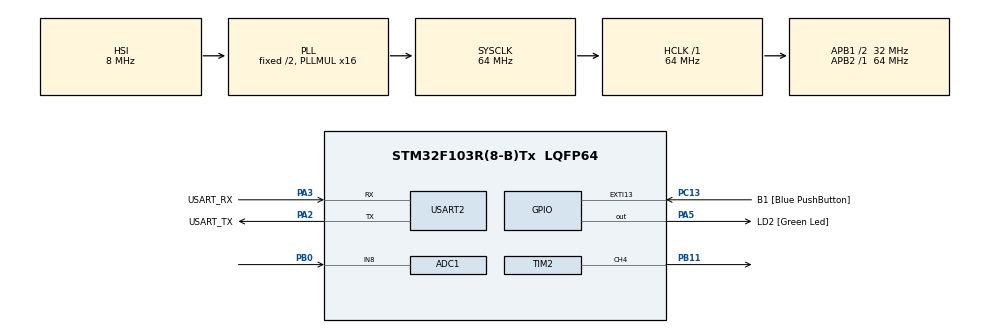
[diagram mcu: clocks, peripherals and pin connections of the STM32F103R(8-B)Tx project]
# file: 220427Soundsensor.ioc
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ADC1.Channel-3\#ChannelRegularConversion=ADC_CHANNEL_8
ADC1.ContinuousConvMode=ENABLE
ADC1.NbrOfConversionFlag=1
ADC1.Rank-3\#ChannelRegularConversion=1
ADC1.SamplingTime-3\#ChannelRegularConversion=ADC_SAMPLETIME_1CYCLE_5
ADC1.master=1
Mcu.Family=STM32F1
Mcu.Name=STM32F103R(8-B)Tx
Mcu.Package=LQFP64
NVIC.EXTI15_10_IRQn=true\:0\:0\:false\:false\:true\:true\:true\:true
NVIC.PriorityGroup=NVIC_PRIORITYGROUP_4
PA13.GPIO_Label=TMS
PA13.Mode=Serial_Wire
PA13.Signal=SYS_JTMS-SWDIO
PA14.GPIO_Label=TCK
PA14.Mode=Serial_Wire
PA14.Signal=SYS_JTCK-SWCLK
PA2.GPIO_Label=USART_TX
PA2.GPIO_Mode=GPIO_MODE_AF_PP
PA2.GPIO_PuPd=GPIO_NOPULL
PA2.GPIO_Speed=GPIO_SPEED_FREQ_LOW
PA2.Mode=Asynchronous
PA2.Signal=USART2_TX
PA3.GPIO_Label=USART_RX
PA3.GPIO_Mode=GPIO_MODE_AF_PP
PA3.GPIO_PuPd=GPIO_NOPULL
PA3.GPIO_Speed=GPIO_SPEED_FREQ_LOW
PA3.Mode=Asynchronous
PA3.Signal=USART2_RX
PA5.GPIO_Label=LD2 [Green Led]
PA5.GPIO_ModeDefaultOutputPP=GPIO_MODE_OUTPUT_PP
PA5.GPIO_PuPd=GPIO_NOPULL
PA5.GPIO_Speed=GPIO_SPEED_FREQ_LOW
PA5.Signal=GPIO_Output
PB0.Signal=ADCx_IN8
PB11.Signal=S_TIM2_CH4
PB3.GPIO_Label=SWO
PB3.Signal=SYS_JTDO-TRACESWO
PC13-TAMPER-RTC.GPIO_Label=B1 [Blue PushButton]
PC13-TAMPER-RTC.GPIO_PuPd=GPIO_NOPULL
PC13-TAMPER-RTC.Signal=GPXTI13
PC14-OSC32_IN.Mode=LSE-External-Oscillator
PC14-OSC32_IN.Signal=RCC_OSC32_IN
PC15-OSC32_OUT.Mode=LSE-External-Oscillator
PC15-OSC32_OUT.Signal=RCC_OSC32_OUT
PD0-OSC_IN.Mode=HSE-External-Clock-Source
PD0-OSC_IN.Signal=RCC_OSC_IN
PD1-OSC_OUT.Mode=HSE-External-Clock-Source
PD1-OSC_OUT.Signal=RCC_OSC_OUT
ProjectManager.HeapSize=0x200
ProjectManager.StackSize=0x400
ProjectManager.TargetToolchain=STM32CubeIDE
RCC.ADCPresc=RCC_ADCPCLK2_DIV8
RCC.AHBFreq_Value=64000000
RCC.APB1CLKDivider=RCC_HCLK_DIV2
RCC.APB1Freq_Value=32000000
RCC.APB1TimFreq_Value=64000000
RCC.APB2Freq_Value=64000000
RCC.APB2TimFreq_Value=64000000
RCC.HCLKFreq_Value=64000000
RCC.PLLMUL=RCC_PLL_MUL16
RCC.RTCClockSelection=RCC_RTCCLKSOURCE_LSE
RCC.SYSCLKFreq_VALUE=64000000
RCC.SYSCLKSource=RCC_SYSCLKSOURCE_PLLCLK
RCC.USBFreq_Value=64000000
SH.ADCx_IN8.0=ADC1_IN8,IN8
SH.S_TIM2_CH4.0=TIM2_CH4,PWM Generation4 CH4
TIM2.Channel-PWM\ Generation4\ CH4=TIM_CHANNEL_4
TIM2.Period=10000-1
TIM2.Prescaler=6400-1
USART2.VirtualMode=VM_ASYNC
VP_TIM2_VS_ClockSourceINT.Mode=Internal
board=NUCLEO-F103RB

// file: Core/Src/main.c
/* USER CODE BEGIN Header */
/**
  ******************************************************************************
  * @file           : main.c
  * @brief          : Main program body
  ******************************************************************************
  * @attention
  *
  * Copyright (c) 2022 STMicroelectronics.
  * All rights reserved.
  *
  * This software is licensed under terms that can be found in the LICENSE file
  * in the root directory of this software component.
  * If no LICENSE file comes with this software, it is provided AS-IS.
  *
  ******************************************************************************
  */
/* USER CODE END Header */
#include "main.h"

/* USER CODE BEGIN Includes */
#include "stdio.h"
/* USER CODE END Includes */

 ADC_HandleTypeDef hadc1;

TIM_HandleTypeDef htim2;

UART_HandleTypeDef huart2;

/* USER CODE BEGIN PV */
uint16_t adc_value;
/* USER CODE END PV */

void SystemClock_Config(void);
static void MX_GPIO_Init(void);
static void MX_USART2_UART_Init(void);
static void MX_TIM2_Init(void);
static void MX_ADC1_Init(void);

/* USER CODE BEGIN 0 */
#ifdef __GNUC__
/* With GCC, small printf (option LD Linker->Libraries->Small printf
   set to 'Yes') calls __io_putchar() */
#define PUTCHAR_PROTOTYPE int __io_putchar(int ch)
#else
#define PUTCHAR_PROTOTYPE int fputc(int ch, FILE *f)
#endif /* __GNUC__ */
void SystemClock_Config(void);
/* USER CODE END 0 */

int main(void)
{

  /* MCU Configuration--------------------------------------------------------*/

  /* Reset of all peripherals, Initializes the Flash interface and the Systick. */
  HAL_Init();

  /* Configure the system clock */
  SystemClock_Config();

  /* Initialize all configured peripherals */
  MX_GPIO_Init();
  MX_USART2_UART_Init();
  MX_TIM2_Init();
  MX_ADC1_Init();
  /* USER CODE BEGIN 2 */
  HAL_ADC_Start(&hadc1);
  HAL_TIM_PWM_Start(&htim2, TIM_CHANNEL_4);
  /* USER CODE END 2 */

  /* Infinite loop */
  /* USER CODE BEGIN WHILE */
  while (1)
  {

		HAL_ADC_PollForConversion(&hadc1, 100);
		adc_value = HAL_ADC_GetValue(&hadc1)-2100;
		TIM2 -> CCR4 = adc_value;
		printf("ADC_value : %d\r\n", adc_value);
    /* USER CODE END WHILE */

  }
}

void SystemClock_Config(void)
{
  RCC_OscInitTypeDef RCC_OscInitStruct = {0};
  RCC_ClkInitTypeDef RCC_ClkInitStruct = {0};
  RCC_PeriphCLKInitTypeDef PeriphClkInit = {0};

  /** Initializes the RCC Oscillators according to the specified parameters
  * in the RCC_OscInitTypeDef structure.
  */
  RCC_OscInitStruct.OscillatorType = RCC_OSCILLATORTYPE_HSI;
  RCC_OscInitStruct.HSIState = RCC_HSI_ON;
  RCC_OscInitStruct.HSICalibrationValue = RCC_HSICALIBRATION_DEFAULT;
  RCC_OscInitStruct.PLL.PLLState = RCC_PLL_ON;
  RCC_OscInitStruct.PLL.PLLSource = RCC_PLLSOURCE_HSI_DIV2;
  RCC_OscInitStruct.PLL.PLLMUL = RCC_PLL_MUL16;
  if (HAL_RCC_OscConfig(&RCC_OscInitStruct) != HAL_OK)
  {
    Error_Handler();
  }

  /** Initializes the CPU, AHB and APB buses clocks
  */
  RCC_ClkInitStruct.ClockType = RCC_CLOCKTYPE_HCLK|RCC_CLOCKTYPE_SYSCLK
                              |RCC_CLOCKTYPE_PCLK1|RCC_CLOCKTYPE_PCLK2;
  RCC_ClkInitStruct.SYSCLKSource = RCC_SYSCLKSOURCE_PLLCLK;
  RCC_ClkInitStruct.AHBCLKDivider = RCC_SYSCLK_DIV1;
  RCC_ClkInitStruct.APB1CLKDivider = RCC_HCLK_DIV2;
  RCC_ClkInitStruct.APB2CLKDivider = RCC_HCLK_DIV1;

  if (HAL_RCC_ClockConfig(&RCC_ClkInitStruct, FLASH_LATENCY_2) != HAL_OK)
  {
    Error_Handler();
  }
  PeriphClkInit.PeriphClockSelection = RCC_PERIPHCLK_ADC;
  PeriphClkInit.AdcClockSelection = RCC_ADCPCLK2_DIV8;
  if (HAL_RCCEx_PeriphCLKConfig(&PeriphClkInit) != HAL_OK)
  {
    Error_Handler();
  }
}

static void MX_ADC1_Init(void)
{

  ADC_ChannelConfTypeDef sConfig = {0};

  /** Common config
  */
  hadc1.Instance = ADC1;
  hadc1.Init.ScanConvMode = ADC_SCAN_DISABLE;
  hadc1.Init.ContinuousConvMode = ENABLE;
  hadc1.Init.DiscontinuousConvMode = DISABLE;
  hadc1.Init.ExternalTrigConv = ADC_SOFTWARE_START;
  hadc1.Init.DataAlign = ADC_DATAALIGN_RIGHT;
  hadc1.Init.NbrOfConversion = 1;
  if (HAL_ADC_Init(&hadc1) != HAL_OK)
  {
    Error_Handler();
  }

  /** Configure Regular Channel
  */
  sConfig.Channel = ADC_CHANNEL_8;
  sConfig.Rank = ADC_REGULAR_RANK_1;
  sConfig.SamplingTime = ADC_SAMPLETIME_1CYCLE_5;
  if (HAL_ADC_ConfigChannel(&hadc1, &sConfig) != HAL_OK)
  {
    Error_Handler();
  }

}

static void MX_TIM2_Init(void)
{

  TIM_ClockConfigTypeDef sClockSourceConfig = {0};
  TIM_MasterConfigTypeDef sMasterConfig = {0};
  TIM_OC_InitTypeDef sConfigOC = {0};

  htim2.Instance = TIM2;
  htim2.Init.Prescaler = 6400-1;
  htim2.Init.CounterMode = TIM_COUNTERMODE_UP;
  htim2.Init.Period = 10000-1;
  htim2.Init.ClockDivision = TIM_CLOCKDIVISION_DIV1;
  htim2.Init.AutoReloadPreload = TIM_AUTORELOAD_PRELOAD_DISABLE;
  if (HAL_TIM_Base_Init(&htim2) != HAL_OK)
  {
    Error_Handler();
  }
  sClockSourceConfig.ClockSource = TIM_CLOCKSOURCE_INTERNAL;
  if (HAL_TIM_ConfigClockSource(&htim2, &sClockSourceConfig) != HAL_OK)
  {
    Error_Handler();
  }
  if (HAL_TIM_PWM_Init(&htim2) != HAL_OK)
  {
    Error_Handler();
  }
  sMasterConfig.MasterOutputTrigger = TIM_TRGO_RESET;
  sMasterConfig.MasterSlaveMode = TIM_MASTERSLAVEMODE_DISABLE;
  if (HAL_TIMEx_MasterConfigSynchronization(&htim2, &sMasterConfig) != HAL_OK)
  {
    Error_Handler();
  }
  sConfigOC.OCMode = TIM_OCMODE_PWM1;
  sConfigOC.Pulse = 0;
  sConfigOC.OCPolarity = TIM_OCPOLARITY_HIGH;
  sConfigOC.OCFastMode = TIM_OCFAST_DISABLE;
  if (HAL_TIM_PWM_ConfigChannel(&htim2, &sConfigOC, TIM_CHANNEL_4) != HAL_OK)
  {
    Error_Handler();
  }
  HAL_TIM_MspPostInit(&htim2);

}

static void MX_USART2_UART_Init(void)
{

  huart2.Instance = USART2;
  huart2.Init.BaudRate = 115200;
  huart2.Init.WordLength = UART_WORDLENGTH_8B;
  huart2.Init.StopBits = UART_STOPBITS_1;
  huart2.Init.Parity = UART_PARITY_NONE;
  huart2.Init.Mode = UART_MODE_TX_RX;
  huart2.Init.HwFlowCtl = UART_HWCONTROL_NONE;
  huart2.Init.OverSampling = UART_OVERSAMPLING_16;
  if (HAL_UART_Init(&huart2) != HAL_OK)
  {
    Error_Handler();
  }

}

static void MX_GPIO_Init(void)
{
  GPIO_InitTypeDef GPIO_InitStruct = {0};

  /* GPIO Ports Clock Enable */
  __HAL_RCC_GPIOC_CLK_ENABLE();
  __HAL_RCC_GPIOD_CLK_ENABLE();
  __HAL_RCC_GPIOA_CLK_ENABLE();
  __HAL_RCC_GPIOB_CLK_ENABLE();

  /*Configure GPIO pin Output Level */
  HAL_GPIO_WritePin(LD2_GPIO_Port, LD2_Pin, GPIO_PIN_RESET);

  /*Configure GPIO pin : B1_Pin */
  GPIO_InitStruct.Pin = B1_Pin;
  GPIO_InitStruct.Mode = GPIO_MODE_IT_RISING;
  GPIO_InitStruct.Pull = GPIO_NOPULL;
  HAL_GPIO_Init(B1_GPIO_Port, &GPIO_InitStruct);

  /*Configure GPIO pin : LD2_Pin */
  GPIO_InitStruct.Pin = LD2_Pin;
  GPIO_InitStruct.Mode = GPIO_MODE_OUTPUT_PP;
  GPIO_InitStruct.Pull = GPIO_NOPULL;
  GPIO_InitStruct.Speed = GPIO_SPEED_FREQ_LOW;
  HAL_GPIO_Init(LD2_GPIO_Port, &GPIO_InitStruct);

  /* EXTI interrupt init*/
  HAL_NVIC_SetPriority(EXTI15_10_IRQn, 0, 0);
  HAL_NVIC_EnableIRQ(EXTI15_10_IRQn);

}

/* USER CODE BEGIN 4 */
PUTCHAR_PROTOTYPE
{
  /* Place your implementation of fputc here */
  /* e.g. write a character to the USART1 and Loop until the end of transmission */
  HAL_UART_Transmit(&huart2, (uint8_t *)&ch, 1, 0xFFFF);

  return ch;
}
/* USER CODE END 4 */

void Error_Handler(void)
{
  __disable_irq();
  while (1)
  {
  }
}
